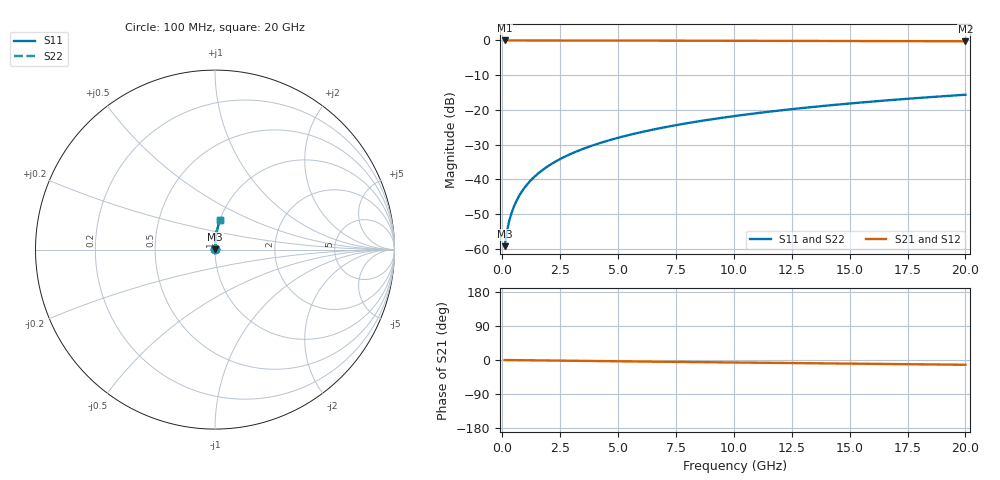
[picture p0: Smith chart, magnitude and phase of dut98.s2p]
! Touchstone file exported from HFSS 2024.1.0
!  File:  C:/UserFiles/LocalFiles/RDL_TSV_Batchsim/temp_RDL_top_98_1778683129.aedt
!  Generated:  10:43:02 PM May 13, 2026
!  Design:  RDL_top
!  Project:  temp_RDL_top_98_1778683129
!  Setup:  Setup1
!  Solution:  Sweep
! Variables:
!  dtsv = 10.80580581um
!  hbump = 3um
!  htsv = 84.47um
!  ldown = 100um
!  lrdl = 116.63um
!  p = 40
!  p1 = 58.69um
!  rhole = 1um
!  t = 450um
!  tdown = 3.915915916um
!  trdl = 4.13um
!  wdown = 15.38538539um
!  wrdl = 17.7um
# GHz S MA R 50.000000
! Terminal data exported
! Port[1] = Box2_T1
! Port[2] = Box2_T2
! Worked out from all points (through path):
!   200 points, 100 MHz to 20 GHz, reference 50 ohm
!   highest |S21| = -0.01 dB at 100 MHz (marker M1); lowest = -0.2 dB at 20 GHz (marker M2)
!   group delay of S21, straight-line fit = 1.73 ps
!   lowest |S11| = -59.2 dB at 100 MHz (marker M3), VSWR 1.00, Z = 50.1 + j0.082 ohm
!   |S11| at or under -10 dB: start of sweep to end of sweep
!   |S22| runs from -59.2 to -15.6 dB; largest |S21 - S12| = 5.3e-15
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0.1  0.001099 48.1  0.9993 -0.1  0.9993 -0.1  0.001099 48.1
! Gamma 0 0 0 0
! Port Impedance 50 0 50 0
0.2  0.001793 65.0  0.9992 -0.1  0.9992 -0.1  0.001793 65.0
0.3  0.00254 72.1  0.9992 -0.2  0.9992 -0.2  0.00254 72.1
0.4  0.0033 75.9  0.9992 -0.3  0.9992 -0.3  0.0033 75.9
0.5  0.004064 78.4  0.9991 -0.4  0.9991 -0.4  0.004064 78.4
0.7  0.005602 81.4  0.9991 -0.5  0.9991 -0.5  0.005602 81.4
0.8  0.006375 82.3  0.999 -0.6  0.999 -0.6  0.006375 82.3
1  0.007926 83.8  0.999 -0.7  0.999 -0.7  0.007926 83.8
1.2  0.009483 84.7  0.9989 -0.8  0.9989 -0.8  0.009483 84.7
1.4  0.01105 85.4  0.9988 -1.0  0.9988 -1.0  0.01105 85.4
1.7  0.0134 86.1  0.9987 -1.2  0.9987 -1.2  0.0134 86.1
2  0.01576 86.6  0.9985 -1.4  0.9985 -1.4  0.01576 86.6
2.7  0.02129 87.3  0.998 -1.9  0.998 -1.9  0.02129 87.3
3.5  0.02767 87.7  0.9972 -2.4  0.9972 -2.4  0.02767 87.7
4.2  0.0333 87.8  0.9965 -2.9  0.9965 -2.9  0.0333 87.8
5  0.0398 87.8  0.9955 -3.4  0.9955 -3.4  0.0398 87.8
6.8  0.05463 87.4  0.9932 -4.6  0.9932 -4.6  0.05463 87.4
8.3  0.06718 86.8  0.9911 -5.5  0.9911 -5.5  0.06718 86.8
10.1  0.08238 85.9  0.9885 -6.6  0.9885 -6.6  0.08238 85.9
13.4  0.1104 84.0  0.9836 -8.6  0.9836 -8.6  0.1104 84.0
16.7  0.1382 81.9  0.9785 -10.6  0.9785 -10.6  0.1382 81.9
20  0.1656 79.8  0.973 -12.6  0.973 -12.6  0.1656 79.8
